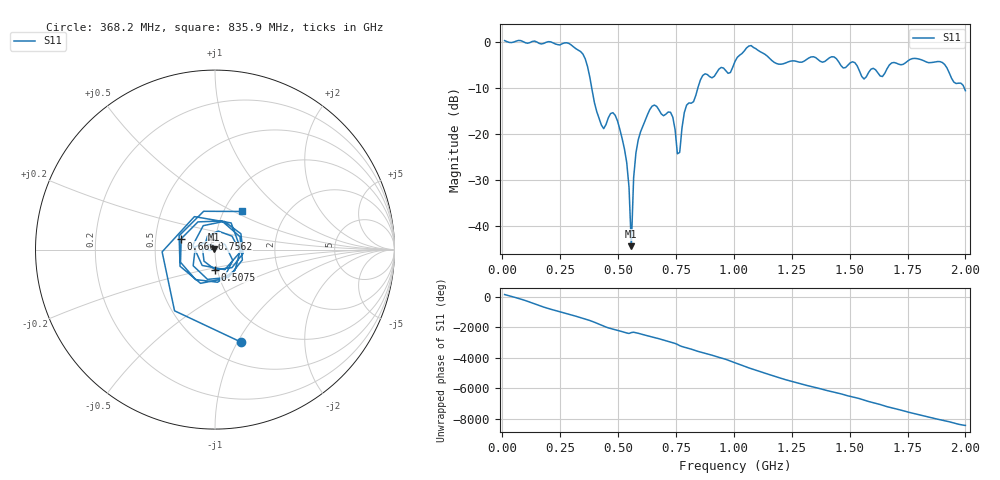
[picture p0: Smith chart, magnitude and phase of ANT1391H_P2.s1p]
!Created with skrf (http://scikit-rf.org).
# Hz S RI R 50.0
!freq ReS11 ImS11
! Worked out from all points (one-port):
!   201 points, 10 MHz to 2 GHz, reference 50 ohm
!   lowest |S11| = -44.4 dB at 557.2 MHz (marker M1), VSWR 1.01, Z = 49.4 + j0.145 ohm
!   |S11| at or under -10 dB: 386 MHz to 845 MHz (459 MHz wide, 74.6 % of centre); 1.994407 GHz to end of sweep
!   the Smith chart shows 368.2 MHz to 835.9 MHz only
!   S11 on the Smith chart (normalised r, x): 368.2 MHz: 0.72, -1.03; 507.5 MHz: 0.98, -0.22; 666.7 MHz: 0.68, +0.09; 756.2 MHz: 0.95, +0.11; 835.9 MHz: 1.22, +0.56
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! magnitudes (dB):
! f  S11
! 10 MHz  0.2
! 258.8 MHz  -0.5
! 368.2 MHz  -5.4
! 427.9 MHz  -18.1
! 477.6 MHz  -15.4
! 507.5 MHz  -19.0
! 537.4 MHz  -26.2
! 547.3 MHz  -31.6
! 557.2 MHz  -44.4
! 567.2 MHz  -29.6
! 587.1 MHz  -21.3
! 636.9 MHz  -14.8
! 666.7 MHz  -14.1
! 736.4 MHz  -16.4
! 756.2 MHz  -24.4
! 766.2 MHz  -24.0
! 796 MHz  -13.8
! 835.9 MHz  -11.7
! 865.7 MHz  -7.4
! 985.1 MHz  -6.7
! 1.005 GHz  -4.3
! 1.075 GHz  -0.9
! 1.254 GHz  -4.2
! 1.502 GHz  -4.6
! 1.562 GHz  -8.1
! 1.751 GHz  -4.2
! 1.901 GHz  -4.6
! 2 GHz  -10.7
